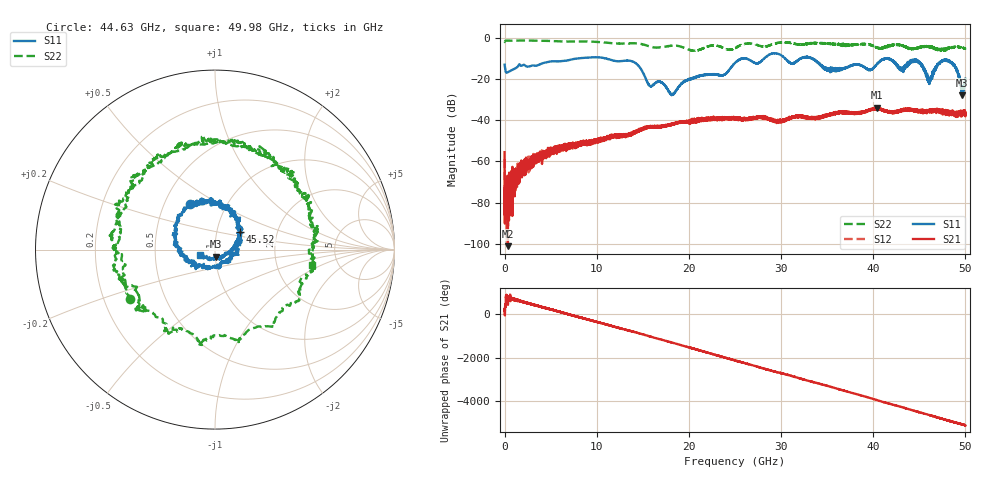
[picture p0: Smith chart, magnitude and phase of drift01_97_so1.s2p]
!Created with skrf (http://scikit-rf.org).
# Hz S RI R 50.0
!freq ReS11 ImS11 ReS21 ImS21 ReS12 ImS12 ReS22 ImS22
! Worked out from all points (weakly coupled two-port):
!   10001 points, 300 kHz to 50 GHz, reference 50 ohm
!   highest |S21| = -33.99 dB at 40.39 GHz (marker M1); lowest = -101.1 dB at 355.3 MHz (marker M2)
!   lowest |S11| = -28.0 dB at 49.67 GHz (marker M3), VSWR 1.08, Z = 50.6 - j3.97 ohm
!   |S11| at or under -10 dB: start of sweep to 8.08 GHz; 10.91 GHz to 26 GHz (15.09 GHz wide, 81.7 % of centre); 41.57 GHz to end of sweep (the widest 3 of 19)
!   |S22| runs from -6.5 to -1.4 dB; largest |S21 - S12| = 0.0037
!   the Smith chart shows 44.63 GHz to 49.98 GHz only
!   S11 on the Smith chart (normalised r, x): 44.63 GHz: 0.67, +0.38; 45.52 GHz: 1.30, +0.26; 49.98 GHz: 0.84, -0.05
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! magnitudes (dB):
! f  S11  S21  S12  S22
! 300 kHz  -13.1  -55.5  -59.0  -2.1
! 355.3 MHz  -16.7  -101.1  -67.8  -1.4
! 3.1 GHz  -13.4  -57.5  -58.6  -1.4
! 8.335 GHz  -9.9  -50.4  -50.9  -1.8
! 13.8 GHz  -11.4  -46.8  -46.2  -2.7
! 15.75 GHz  -23.4  -43.3  -43.1  -4.2
! 16.67 GHz  -21.3  -43.5  -43.2  -4.8
! 18.22 GHz  -27.4  -41.9  -41.8  -3.9
! 25 GHz  -12.2  -39.2  -39.2  -5.1
! 29.24 GHz  -7.6  -40.0  -40.2  -3.0
! 33.34 GHz  -10.0  -39.0  -39.0  -2.7
! 35.23 GHz  -15.0  -37.2  -37.4  -2.9
! 40.39 GHz  -12.8  -34.0  -34.4  -4.8
! 41.67 GHz  -10.3  -36.0  -36.0  -4.2
! 43.07 GHz  -15.7  -35.5  -35.3  -3.5
! 44.63 GHz  -10.7  -35.5  -35.1  -5.2
! 45.52 GHz  -15.3  -36.3  -35.7  -4.5
! 46.14 GHz  -19.9  -36.1  -35.2  -4.3
! 48.16 GHz  -11.2  -36.0  -36.7  -5.4
! 49.67 GHz  -28.0  -37.2  -36.1  -4.8
! 49.98 GHz  -20.9  -36.0  -35.6  -5.2
! 50 GHz  -21.4  -37.3  -36.3  -5.3
